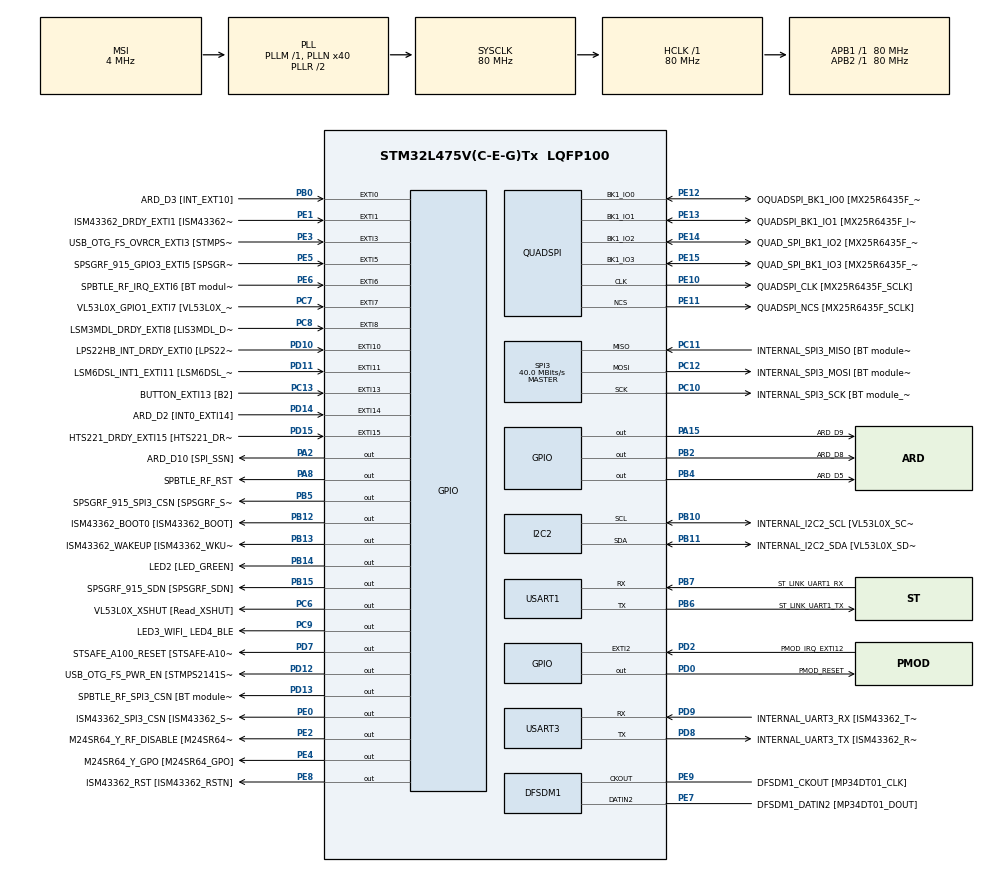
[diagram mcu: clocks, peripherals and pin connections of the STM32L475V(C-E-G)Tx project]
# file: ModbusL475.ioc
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PD12.GPIO_Label=USB_OTG_FS_PWR_EN [STMPS2141STR_EN]
SPI3.Direction=SPI_DIRECTION_2LINES
SPI3.VirtualType=VM_MASTER
QUADSPI.ClockPrescaler=2
PB10.Mode=I2C
PC12.Signal=SPI3_MOSI
PB14.GPIO_Label=LED2 [LED_GREEN]
PC6.GPIO_Label=VL53L0X_XSHUT [Read_XSHUT]
PA6.GPIO_Label=ARD_D12 [SPI1_MISO]
PB6.GPIO_Label=ST_LINK_UART1_TX
PA15\ (JTDI).Signal=GPIO_Output
PC15-OSC32_OUT\ (PC15).Mode=LSE-External-Oscillator
PB13.Signal=GPIO_Output
PD6.GPIO_Label=PMOD_UART2_RX
PE6.GPIO_Label=SPBTLE_RF_IRQ_EXTI6 [BT module_SPI_IRQ]
RCC.SYSCLKSource=RCC_SYSCLKSOURCE_PLLCLK
PC14-OSC32_IN\ (PC14).Mode=LSE-External-Oscillator
SH.ADCx_IN16.0=ADC1_IN16
USART3.VirtualMode-Asynchronous=VM_ASYNC
PA14\ (JTCK-SWCLK).Signal=SYS_JTCK-SWCLK
PD4.Signal=USART2_RTS
RCC.APB2TimFreq_Value=80000000
PB6.Signal=USART1_TX
PC7.Signal=GPXTI7
PB6.Mode=Asynchronous
PC3.Signal=ADCx_IN4
PD0.Signal=GPIO_Output
PD8.Signal=USART3_TX
PE5.Signal=GPXTI5
PE1.Signal=GPXTI1
QUADSPI.FlashSize=23
NVIC.EXTI15_10_IRQn=true\:5\:0\:false\:false\:true\:true\:true\:true
PB2.Signal=GPIO_Output
PD1.GPIO_Label=PMOD_SPI2_SCK
PB12.GPIO_Label=ISM43362_BOOT0 [ISM43362_BOOT]
PC4.GPIO_Label=ARD_A1 [ADC]
PE9.Signal=S_CKOUTDFSDM1
PB1.GPIO_Label=ARD_D6 [ADC1_IN6]
PE4.GPIO_Label=M24SR64_Y_GPO [M24SR64_GPO]
PE2.Signal=GPIO_Output
PA8.Signal=GPIO_Output
PE13.Mode=Single Bank
PE10.Signal=QUADSPI_CLK
PA0.Signal=UART4_TX
Mcu.Package=LQFP100
PB9.Signal=I2C1_SDA
PB1.Signal=ADCx_IN16
NVIC.TimeBase=TIM1_TRG_COM_TIM17_IRQn
SPI3.Mode=SPI_MODE_MASTER
SH.ADCx_IN14.0=ADC1_IN14
PD12.Signal=GPIO_Output
NVIC.TimeBaseIP=TIM17
PA10.Signal=USB_OTG_FS_ID
PE12.GPIO_Label=OQUADSPI_BK1_IO0 [MX25R6435F_IO0]
PC11.Mode=Full_Duplex_Master
SH.ADCx_IN9.0=ADC1_IN9
RCC.APB1TimFreq_Value=80000000
PA13\ (JTMS-SWDIO).Signal=SYS_JTMS-SWDIO
NVIC.USART1_IRQn=true\:5\:0\:false\:false\:true\:true\:true\:true
PE10.GPIO_Label=QUADSPI_CLK [MX25R6435F_SCLK]
PA4.GPIO_Label=ARD_D7
PD15.Signal=GPXTI15
PE12.Mode=Single Bank
FREERTOS.Tasks01=defaultTask,24,128,StartDefaultTask,Default,NULL,Dynamic,NULL,NULL
PD9.GPIO_Label=INTERNAL_UART3_RX [ISM43362_TX]
VP_SYS_VS_tim17.Mode=TIM17
PA9.GPIO_Label=USB_OTG_FS_VBUS [STMPS2141STR_OUT]
PC13.Signal=GPXTI13
PD3.Signal=USART2_CTS
PC6.Signal=GPIO_Output
PE10.Mode=Single Bank
PC2.Signal=ADCx_IN3
PB11.GPIO_Label=INTERNAL_I2C2_SDA [VL53L0X_SDA]
PD7.Signal=GPIO_Output
PD1.Signal=SPI2_SCK
PA11.GPIO_Label=USB_OTG_FS_DM
PC0.Signal=ADCx_IN1
PD10.Signal=GPXTI10
PB8.GPIO_Label=ARD_D15 [I2C1_SCL]
PA8.GPIO_Label=SPBTLE_RF_RST
PB11.Mode=I2C
PE8.GPIO_Label=ISM43362_RST [ISM43362_RSTN]
PA9.Signal=USB_OTG_FS_VBUS
PE9.GPIO_Label=DFSDM1_CKOUT [MP34DT01_CLK]
PD8.Mode=Asynchronous
PB10.Signal=I2C2_SCL
PB14.Signal=GPIO_Output
PA5.Signal=SPI1_SCK
PC12.Mode=Full_Duplex_Master
PE1.GPIO_Label=ISM43362_DRDY_EXTI1 [ISM43362_DATARDY]
PE14.Signal=QUADSPI_BK1_IO2
PE15.Signal=QUADSPI_BK1_IO3
PB15.GPIO_Label=SPSGRF_915_SDN [SPSGRF_SDN]
PE8.Signal=GPIO_Output
PA1.GPIO_Label=ARD_D0 [UART4_RX]
SH.ADCx_IN4.0=ADC1_IN4
QUADSPI.FifoThreshold=4
PC7.GPIO_Label=VL53L0X_GPIO1_EXTI7 [VL53L0X_GPIO1]
PA13\ (JTMS-SWDIO).Mode=Serial_Wire
PA4.Signal=ADCx_IN9
PB5.Signal=GPIO_Output
PE13.GPIO_Label=QUADSPI_BK1_IO1 [MX25R6435F_IO1]
PA5.GPIO_Label=ARD_D13 [SPI1_SCK]
PD11.Signal=GPXTI11
PE5.GPIO_Label=SPSGRF_915_GPIO3_EXTI5 [SPSGRF_GPIO_3]
PC12.GPIO_Label=INTERNAL_SPI3_MOSI [BT module_SPI_MOSI] [ISM43362_MOSI]
PA11.Signal=USB_OTG_FS_DM
ProjectManager.HeapSize=0x200
NVIC.PriorityGroup=NVIC_PRIORITYGROUP_4
PE3.Signal=GPXTI3
PC3.GPIO_Label=ARD_A2 [ADC]
PB4\ (NJTRST).GPIO_Label=ARD_D5
PD2.Signal=GPXTI2
PB0.Signal=GPXTI0
PC1.Signal=ADCx_IN2
PD2.GPIO_Label=PMOD_IRQ_EXTI12
PE15.Mode=Single Bank
Mcu.Family=STM32L4
RCC.CortexFreq_Value=80000000
PE11.GPIO_Label=QUADSPI_NCS [MX25R6435F_SCLK]
SH.ADCx_IN2.0=ADC1_IN2
PC10.Signal=SPI3_SCK
PA0.GPIO_Label=ARD_D1 [UART4_TX]
PC0.GPIO_Label=ARD_A5 [ADC]
PD0.GPIO_Label=PMOD_RESET
PB0.GPIO_Label=ARD_D3 [INT_EXT10]
PC13.GPIO_Label=BUTTON_EXTI13 [B2]
PB13.GPIO_Label=ISM43362_WAKEUP [ISM43362_WKUP]
PB11.Signal=I2C2_SDA
PB15.Signal=GPIO_Output
PD9.Mode=Asynchronous
ProjectManager.StackSize=0x400
PB3\ (JTDO-TRACESWO).Signal=SYS_JTDO-SWO
VP_FREERTOS_VS_CMSIS_V2.Mode=CMSIS_V2
PD13.Signal=GPIO_Output
PA12.Signal=USB_OTG_FS_DP
PE11.Mode=Single Bank
PD11.GPIO_Label=LSM6DSL_INT1_EXTI11 [LSM6DSL_INT1]
RCC.HCLKFreq_Value=80000000
SH.ADCx_IN3.0=ADC1_IN3
PB5.PinState=GPIO_PIN_SET
RCC.AHBFreq_Value=80000000
RCC.HSE_VALUE=8000000
NVIC.TIM1_TRG_COM_TIM17_IRQn=true\:0\:0\:false\:false\:true\:false\:false\:true
PE13.Signal=QUADSPI_BK1_IO1
PC11.GPIO_Label=INTERNAL_SPI3_MISO [BT module_SPI_MISO] [ISM43362_MISO]
PA10.GPIO_Label=USB_OTG_FS_ID
PB7.Signal=USART1_RX
PE4.Signal=GPIO_Output
QUADSPI.SampleShifting=QSPI_SAMPLE_SHIFTING_HALFCYCLE
PD7.GPIO_Label=STSAFE_A100_RESET [STSAFE-A100_RESET]
PB7.GPIO_Label=ST_LINK_UART1_RX
PD13.GPIO_Label=SPBTLE_RF_SPI3_CSN [BT module_SPI_CS]
PA6.Signal=SPI1_MISO
PD5.GPIO_Label=PMOD_UART2_TX
PA2.GPIO_Label=ARD_D10 [SPI_SSN]
PE0.GPIO_Label=ISM43362_SPI3_CSN [ISM43362_SSN]
SH.ADCx_IN1.0=ADC1_IN1
PB5.GPIO_Label=SPSGRF_915_SPI3_CSN [SPSGRF_SPI_CS]
PC5.Signal=ADCx_IN14
PD3.GPIO_Label=PMOD_UART2_CTS
PE7.Signal=S_DATAIN2DFSDM1
PD6.Signal=USART2_RX
PE2.GPIO_Label=M24SR64_Y_RF_DISABLE [M24SR64_RFDIS]
PC2.GPIO_Label=ARD_A3 [ADC]
RCC.PLLSAI1N=24
PA3.Signal=S_TIM2_CH4
RCC.MSI_VALUE=4000000
PA14\ (JTCK-SWCLK).Mode=Serial_Wire
SH.ADCx_IN13.0=ADC1_IN13
PD15.GPIO_Label=HTS221_DRDY_EXTI15 [HTS221_DRDY]
PB9.GPIO_Label=ARD_D14 [I2C1_SDA]
PC10.GPIO_Label=INTERNAL_SPI3_SCK [BT module_SPI_SCLK] [ISM43362_SCK]
PC9.GPIO_Label=LED3_WIFI_ LED4_BLE
PC11.Signal=SPI3_MISO
PC8.Signal=GPXTI8
PC4.Signal=ADCx_IN13
PC10.Mode=Full_Duplex_Master
SH.S_DATAIN2DFSDM1.0=DFSDM1_DATIN2,PDM_SPI_Input_from_ch12_and_Internal_Clock
PE14.GPIO_Label=QUAD_SPI_BK1_IO2 [MX25R6435F_IO2]
PC15-OSC32_OUT\ (PC15).Signal=RCC_OSC32_OUT
PD9.Signal=USART3_RX
PD5.Signal=USART2_TX
PA14\ (JTCK-SWCLK).GPIO_Label=SYS_JTCK_SWCLK
PB3\ (JTDO-TRACESWO).GPIO_Label=SYS_JTD0_SWO
PA12.GPIO_Label=USB_OTG_FS_DP
PD8.GPIO_Label=INTERNAL_UART3_TX [ISM43362_RX]
PC8.GPIO_Label=LSM3MDL_DRDY_EXTI8 [LIS3MDL_DRDY]
USART1.VirtualMode-Asynchronous=VM_ASYNC
PE0.PinState=GPIO_PIN_SET
PE15.GPIO_Label=QUAD_SPI_BK1_IO3 [MX25R6435F_IO3]
ProjectManager.TargetToolchain=STM32CubeIDE
PB10.GPIO_Label=INTERNAL_I2C2_SCL [VL53L0X_SCL]
RCC.USBFreq_Value=48000000
PD10.GPIO_Label=LPS22HB_INT_DRDY_EXTI0 [LPS22HB_INT_DRDY] 
PE11.Signal=QUADSPI_NCS
PA1.Signal=UART4_RX
board=B-L475E-IOT01A1
RCC.VCOOutputFreq_Value=160000000
RCC.APB2Freq_Value=80000000
SPI3.CalculateBaudRate=40.0 MBits/s
PA13\ (JTMS-SWDIO).GPIO_Label=SYS_JTMS_SWDIO
PD4.GPIO_Label=PMOD_UART2_RTS
PE14.Mode=Single Bank
SH.S_CKOUTDFSDM1.0=DFSDM1_CKOUT,CKOUT
SH.S_CKOUTDFSDM1.1=DFSDM1_CKOUT,PDM_SPI_Input_from_ch12_and_Internal_Clock
RCC.ADCFreq_Value=48000000
PC1.GPIO_Label=ARD_A4 [ADC]
PD14.GPIO_Label=ARD_D2 [INT0_EXTI14]
PE6.Signal=GPXTI6
PA15\ (JTDI).GPIO_Label=ARD_D9
Mcu.Name=STM32L475V(C-E-G)Tx
PE0.Signal=GPIO_Output
PE7.GPIO_Label=DFSDM1_DATIN2 [MP34DT01_DOUT]
PE12.Signal=QUADSPI_BK1_IO0
PA2.Signal=GPIO_Output
PD14.Signal=GPXTI14
RCC.SYSCLKFreq_VALUE=80000000
PA7.GPIO_Label=ARD_D11 [SPI1_MOSI]
PC13.GPIO_ModeDefaultEXTI=GPIO_MODE_IT_FALLING
PC5.GPIO_Label=ARD_A0 [ADC]
PC14-OSC32_IN\ (PC14).Signal=RCC_OSC32_IN
PB7.Mode=Asynchronous
NVIC.EXTI9_5_IRQn=true\:5\:0\:false\:false\:true\:true\:true\:true
PB2.GPIO_Label=ARD_D8
SH.S_TIM2_CH4.0=TIM2_CH4
RCC.HSI_VALUE=16000000
RCC.PLLN=40
PB8.Signal=I2C1_SCL
PE3.GPIO_Label=USB_OTG_FS_OVRCR_EXTI3 [STMPS2141STR_FAULT]
PC9.Signal=GPIO_Output
PD13.PinState=GPIO_PIN_SET
RCC.APB1Freq_Value=80000000
PB12.Signal=GPIO_Output
PA3.GPIO_Label=ARD_D4
PA7.Signal=SPI1_MOSI
PB4\ (NJTRST).Signal=GPIO_Output

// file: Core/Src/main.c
/* USER CODE BEGIN Header */
/**
  ******************************************************************************
  * @file           : main.c
  * @brief          : Main program body
  ******************************************************************************
  * @attention
  *
  * <h2><center>&copy; Copyright (c) 2021 STMicroelectronics.
  * All rights reserved.</center></h2>
  *
  * This software component is licensed by ST under BSD 3-Clause license,
  * the "License"; You may not use this file except in compliance with the
  * License. You may obtain a copy of the License at:
  *                        opensource.org/licenses/BSD-3-Clause
  *
  ******************************************************************************
  */
/* USER CODE END Header */
#include "main.h"
#include "cmsis_os.h"
#include "dfsdm.h"
#include "i2c.h"
#include "quadspi.h"
#include "spi.h"
#include "usart.h"
#include "gpio.h"

/* USER CODE BEGIN PV */
modbusHandler_t ModbusH;
uint16_t ModbusDATA[128];
modbusHandler_t ModbusH2;
uint16_t ModbusDATA2[128];
/* USER CODE END PV */

void SystemClock_Config(void);
void MX_FREERTOS_Init(void);

int main(void)
{

  /* MCU Configuration--------------------------------------------------------*/

  /* Reset of all peripherals, Initializes the Flash interface and the Systick. */
  HAL_Init();

  /* Configure the system clock */
  SystemClock_Config();

  /* Initialize all configured peripherals */
  MX_GPIO_Init();
  MX_DFSDM1_Init();
  MX_I2C2_Init();
  MX_QUADSPI_Init();
  MX_SPI3_Init();
  MX_USART1_UART_Init();
  MX_USART3_UART_Init();
  /* USER CODE BEGIN 2 */
  /* Slave initialization */

  ModbusH.uModbusType = MB_SLAVE;
  ModbusH.port =  &huart1;
  ModbusH.u8id = 1; // For master it must be 0
  ModbusH.u16timeOut = 1000;
  ModbusH.EN_Port = NULL;
  ModbusH.EN_Port = NULL;
  ModbusH.EN_Pin = 0;
  ModbusH.u16regs = ModbusDATA;
  ModbusH.u16regsize= sizeof(ModbusDATA)/sizeof(ModbusDATA[0]);
  ModbusH.xTypeHW = USART_HW;
  //Initialize Modbus library
  ModbusInit(&ModbusH);
  //Start capturing traffic on serial Port
  ModbusStart(&ModbusH);

  /* USER CODE END 2 */

  /* Init scheduler */
  osKernelInitialize();  /* Call init function for freertos objects (in freertos.c) */
  MX_FREERTOS_Init();
  /* Start scheduler */
  osKernelStart();

  /* We should never get here as control is now taken by the scheduler */
  /* Infinite loop */
  while (1)
  {

  }
}

void SystemClock_Config(void)
{
  RCC_OscInitTypeDef RCC_OscInitStruct = {0};
  RCC_ClkInitTypeDef RCC_ClkInitStruct = {0};
  RCC_PeriphCLKInitTypeDef PeriphClkInit = {0};

  /** Configure LSE Drive Capability
  */
  HAL_PWR_EnableBkUpAccess();
  __HAL_RCC_LSEDRIVE_CONFIG(RCC_LSEDRIVE_LOW);
  /** Initializes the RCC Oscillators according to the specified parameters
  * in the RCC_OscInitTypeDef structure.
  */
  RCC_OscInitStruct.OscillatorType = RCC_OSCILLATORTYPE_LSE|RCC_OSCILLATORTYPE_MSI;
  RCC_OscInitStruct.LSEState = RCC_LSE_ON;
  RCC_OscInitStruct.MSIState = RCC_MSI_ON;
  RCC_OscInitStruct.MSICalibrationValue = 0;
  RCC_OscInitStruct.MSIClockRange = RCC_MSIRANGE_6;
  RCC_OscInitStruct.PLL.PLLState = RCC_PLL_ON;
  RCC_OscInitStruct.PLL.PLLSource = RCC_PLLSOURCE_MSI;
  RCC_OscInitStruct.PLL.PLLM = 1;
  RCC_OscInitStruct.PLL.PLLN = 40;
  RCC_OscInitStruct.PLL.PLLP = RCC_PLLP_DIV7;
  RCC_OscInitStruct.PLL.PLLQ = RCC_PLLQ_DIV2;
  RCC_OscInitStruct.PLL.PLLR = RCC_PLLR_DIV2;
  if (HAL_RCC_OscConfig(&RCC_OscInitStruct) != HAL_OK)
  {
    Error_Handler();
  }
  /** Initializes the CPU, AHB and APB buses clocks
  */
  RCC_ClkInitStruct.ClockType = RCC_CLOCKTYPE_HCLK|RCC_CLOCKTYPE_SYSCLK
                              |RCC_CLOCKTYPE_PCLK1|RCC_CLOCKTYPE_PCLK2;
  RCC_ClkInitStruct.SYSCLKSource = RCC_SYSCLKSOURCE_PLLCLK;
  RCC_ClkInitStruct.AHBCLKDivider = RCC_SYSCLK_DIV1;
  RCC_ClkInitStruct.APB1CLKDivider = RCC_HCLK_DIV1;
  RCC_ClkInitStruct.APB2CLKDivider = RCC_HCLK_DIV1;

  if (HAL_RCC_ClockConfig(&RCC_ClkInitStruct, FLASH_LATENCY_4) != HAL_OK)
  {
    Error_Handler();
  }
  PeriphClkInit.PeriphClockSelection = RCC_PERIPHCLK_USART1|RCC_PERIPHCLK_USART3
                              |RCC_PERIPHCLK_I2C2|RCC_PERIPHCLK_DFSDM1;
  PeriphClkInit.Usart1ClockSelection = RCC_USART1CLKSOURCE_PCLK2;
  PeriphClkInit.Usart3ClockSelection = RCC_USART3CLKSOURCE_PCLK1;
  PeriphClkInit.I2c2ClockSelection = RCC_I2C2CLKSOURCE_PCLK1;
  PeriphClkInit.Dfsdm1ClockSelection = RCC_DFSDM1CLKSOURCE_PCLK;
  if (HAL_RCCEx_PeriphCLKConfig(&PeriphClkInit) != HAL_OK)
  {
    Error_Handler();
  }
  /** Configure the main internal regulator output voltage
  */
  if (HAL_PWREx_ControlVoltageScaling(PWR_REGULATOR_VOLTAGE_SCALE1) != HAL_OK)
  {
    Error_Handler();
  }
  /** Enable MSI Auto calibration
  */
  HAL_RCCEx_EnableMSIPLLMode();
}

 /**
  * @brief  Period elapsed callback in non blocking mode
  * @note   This function is called  when TIM17 interrupt took place, inside
  * HAL_TIM_IRQHandler(). It makes a direct call to HAL_IncTick() to increment
  * a global variable "uwTick" used as application time base.
  * @param  htim : TIM handle
  * @retval None
  */
void HAL_TIM_PeriodElapsedCallback(TIM_HandleTypeDef *htim)
{
  if (htim->Instance == TIM17) {
    HAL_IncTick();
  }
}

void Error_Handler(void)
{
  __disable_irq();
  while (1)
  {
  }
}

/************************ (C) COPYRIGHT STMicroelectronics *****END OF FILE****/

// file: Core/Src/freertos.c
/* USER CODE BEGIN Header */
/**
  ******************************************************************************
  * File Name          : freertos.c
  * Description        : Code for freertos applications
  ******************************************************************************
  * @attention
  *
  * <h2><center>&copy; Copyright (c) 2021 STMicroelectronics.
  * All rights reserved.</center></h2>
  *
  * This software component is licensed by ST under Ultimate Liberty license
  * SLA0044, the "License"; You may not use this file except in compliance with
  * the License. You may obtain a copy of the License at:
  *                             www.st.com/SLA0044
  *
  ******************************************************************************
  */
/* USER CODE END Header */

#include "FreeRTOS.h"
#include "task.h"
#include "main.h"
#include "cmsis_os.h"

/* Definitions for defaultTask */
osThreadId_t defaultTaskHandle;
const osThreadAttr_t defaultTask_attributes = {
  .name = "defaultTask",
  .stack_size = 128 * 4,
  .priority = (osPriority_t) osPriorityNormal,
};

void StartDefaultTask(void *argument);

void MX_FREERTOS_Init(void); /* (MISRA C 2004 rule 8.1) */

void MX_FREERTOS_Init(void) {

  /* Create the thread(s) */
  /* creation of defaultTask */
  defaultTaskHandle = osThreadNew(StartDefaultTask, NULL, &defaultTask_attributes);

}

void StartDefaultTask(void *argument)
{
  for(;;)
  {
    osDelay(1);
  }
}

/************************ (C) COPYRIGHT STMicroelectronics *****END OF FILE****/
